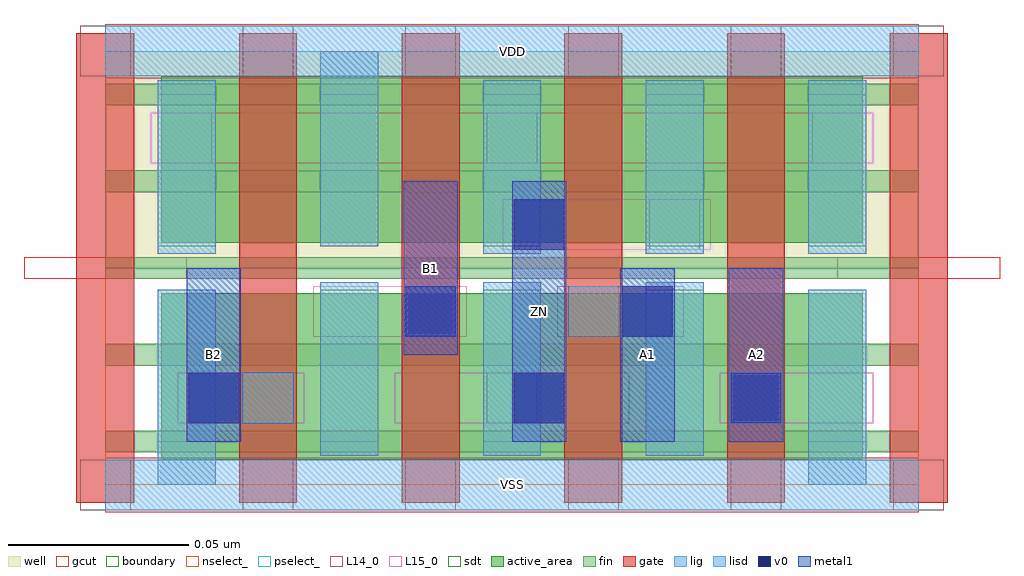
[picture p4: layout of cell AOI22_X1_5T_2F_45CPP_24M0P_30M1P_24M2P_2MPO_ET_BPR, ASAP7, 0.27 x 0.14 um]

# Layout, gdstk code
import gdstk
lib = gdstk.Library(unit=1e-6, precision=2.5e-10)
def R(c, l, rs):  # rectangles x0, y0, x1, y1
    for r in rs: c.add(gdstk.rectangle(r[:2], r[2:], *l))
def A(c, l, x, y, w, h, nx, ny, dx, dy):  # array of equal rectangles
    R(c, l, [(x+i*dx, y+j*dy, x+i*dx+w, y+j*dy+h) for i in range(nx) for j in range(ny)])
well = (1, 0)
fin = (2, 0)
gate = (7, 0)
gcut = (10, 0)
active_area = (11, 0)
nselect_ = (12, 0)
pselect_ = (13, 0)
L14_0 = (14, 0)
L15_0 = (15, 0)
lig = (16, 0)
lisd = (17, 0)
v0 = (18, 0)
metal1 = (19, 0)
sdt = (88, 0)
boundary = (100, 0)

aoi22_x1_5t_2f_45cpp_24m = lib.new_cell('AOI22_X1_5T_2F_45CPP_24M0P_30M1P_24M2P_2MPO_ET_BPR')
R(aoi22_x1_5t_2f_45cpp_24m, well, [(0,0.06,0.225,0.12)])
A(aoi22_x1_5t_2f_45cpp_24m, fin, 0, 0.009, 0.225, 0.006, 1, 5, 0, 0.024)
A(aoi22_x1_5t_2f_45cpp_24m, gate, -0.008, -0.005, 0.016, 0.13, 6, 1, 0.045, 0)
R(aoi22_x1_5t_2f_45cpp_24m, gcut, [(0,-0.0075,0.225,0.0075), (-0.0225,0.057,0.0225,0.063), (0.2025,0.057,0.2475,0.063), (0,0.1125,0.225,0.1275)])
A(aoi22_x1_5t_2f_45cpp_24m, active_area, 0.0155, 0.007, 0.059, 0.046, 4, 2, 0.045, 0.06)
R(aoi22_x1_5t_2f_45cpp_24m, nselect_, [(0,0,0.225,0.06)])
R(aoi22_x1_5t_2f_45cpp_24m, pselect_, [(0,0.06,0.225,0.12)])
A(aoi22_x1_5t_2f_45cpp_24m, L14_0, -0.007, -0.007, 0.014, 0.014, 6, 2, 0.045, 0.12)
A(aoi22_x1_5t_2f_45cpp_24m, L14_0, 0.038, 0.017, 0.014, 0.014, 3, 1, 0.0675, 0)
A(aoi22_x1_5t_2f_45cpp_24m, L14_0, 0.0155, 0.089, 0.014, 0.014, 3, 1, 0.09, 0)
R(aoi22_x1_5t_2f_45cpp_24m, L14_0, [(0.083,0.041,0.097,0.055), (0.128,0.041,0.142,0.055), (0.1505,0.065,0.1645,0.079)])
R(aoi22_x1_5t_2f_45cpp_24m, L15_0, [(0,-0.007,0.225,0.007), (0.02,0.017,0.055,0.031), (0.08,0.017,0.145,0.031), (0.17,0.017,0.2125,0.031), (0.0575,0.041,0.1,0.055), (0.125,0.041,0.16,0.055), (0.11,0.065,0.1675,0.079), (0.0125,0.089,0.2125,0.103), (0,0.113,0.225,0.127)])
R(aoi22_x1_5t_2f_45cpp_24m, lig, [(0,-0.007,0.225,0.007), (0.038,0.017,0.052,0.031), (0.173,0.017,0.187,0.031), (0.083,0.041,0.097,0.055), (0.128,0.041,0.142,0.055), (0,0.113,0.225,0.127)])
A(aoi22_x1_5t_2f_45cpp_24m, lisd, 0.0595, 0.008, 0.016, 0.048, 3, 1, 0.045, 0)
A(aoi22_x1_5t_2f_45cpp_24m, lisd, 0.1045, 0.064, 0.016, 0.048, 3, 1, 0.045, 0)
R(aoi22_x1_5t_2f_45cpp_24m, lisd, [(0.0145,0,0.0305,0.054), (0.1945,0,0.2105,0.054), (0.0145,0.064,0.0305,0.112), (0.0595,0.066,0.0755,0.12)])
R(aoi22_x1_5t_2f_45cpp_24m, v0, [(0.023,0.017,0.037,0.031), (0.113,0.017,0.127,0.031), (0.173,0.017,0.187,0.031), (0.083,0.041,0.097,0.055), (0.143,0.041,0.157,0.055), (0.113,0.065,0.127,0.079)])
R(aoi22_x1_5t_2f_45cpp_24m, metal1, [(0.0225,0.012,0.0375,0.06), (0.1125,0.012,0.1275,0.084), (0.1425,0.012,0.1575,0.06), (0.1725,0.012,0.1875,0.06), (0.0825,0.036,0.0975,0.084)])
A(aoi22_x1_5t_2f_45cpp_24m, sdt, 0.0145, 0.012, 0.016, 0.042, 5, 2, 0.045, 0.054)
R(aoi22_x1_5t_2f_45cpp_24m, boundary, [(0,0,0.225,0.12)])
aoi22_x1_5t_2f_45cpp_24m.add(gdstk.Label('A2', (0.18,0.036), layer=19, texttype=251))
aoi22_x1_5t_2f_45cpp_24m.add(gdstk.Label('A1', (0.15,0.036), layer=19, texttype=251))
aoi22_x1_5t_2f_45cpp_24m.add(gdstk.Label('ZN', (0.12,0.048), layer=19, texttype=251))
aoi22_x1_5t_2f_45cpp_24m.add(gdstk.Label('B1', (0.09,0.06), layer=19, texttype=251))
aoi22_x1_5t_2f_45cpp_24m.add(gdstk.Label('B2', (0.03,0.036), layer=19, texttype=251))
aoi22_x1_5t_2f_45cpp_24m.add(gdstk.Label('VDD', (0.1125,0.12), layer=15, texttype=251))
aoi22_x1_5t_2f_45cpp_24m.add(gdstk.Label('VSS', (0.1125,0), layer=15, texttype=251))
aoi22_x1_5t_2f_45cpp_24m.add(gdstk.Label('VDD', (0.1125,0.12), layer=1, texttype=251))
aoi22_x1_5t_2f_45cpp_24m.add(gdstk.Label('VSS', (0.1125,0), layer=3, texttype=251))

lib.write_gds('AOI22_X1_5T_2F_45CPP_24M0P_30M1P_24M2P_2MPO_ET_BPR.gds')
